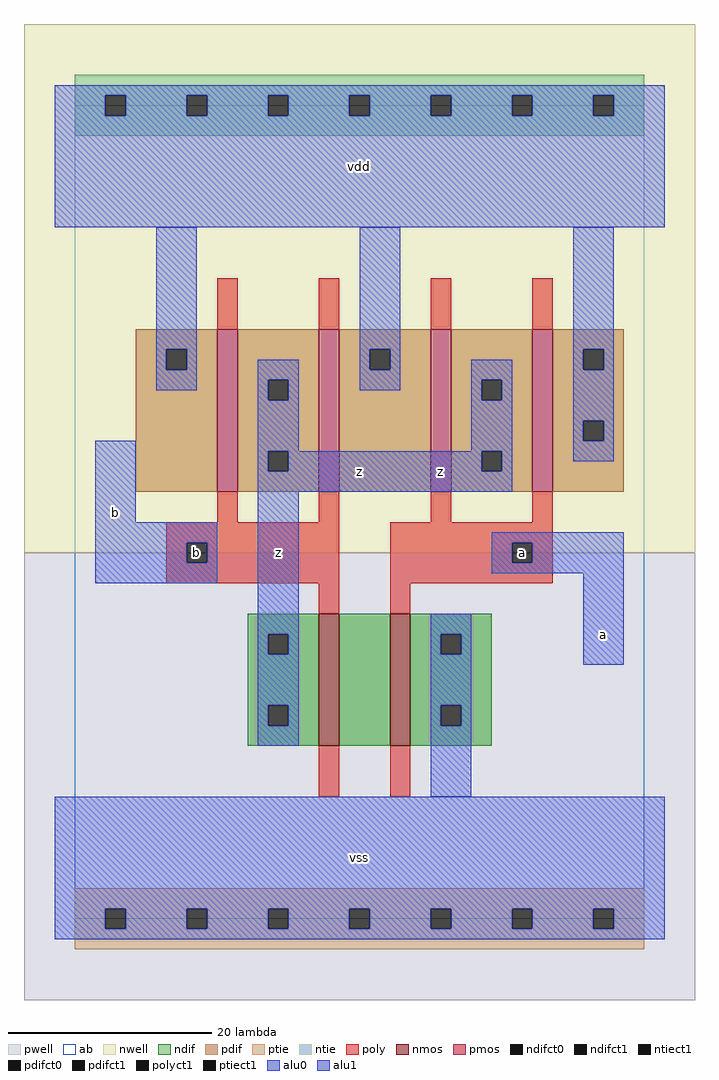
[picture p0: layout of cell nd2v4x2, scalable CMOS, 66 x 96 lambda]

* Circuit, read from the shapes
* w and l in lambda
.subckt nd2v4x2 a b vdd vss z
M1 n1 b z vss nfet w=13 l=2
M2 vss a n1 vss nfet w=13 l=2
M3 z b vdd vdd pfet w=16 l=2 m=2
M4 z a vdd vdd pfet w=16 l=2 m=2
.ends

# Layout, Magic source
magic
tech scmos
<< ab >>
rect 0 0 56 80
<< nwell >>
rect -5 36 61 88
<< pwell >>
rect -5 -8 61 36
<< poly >>
rect 14 58 16 63
rect 24 58 26 63
rect 35 58 37 63
rect 45 58 47 63
rect 14 39 16 42
rect 24 39 26 42
rect 35 39 37 42
rect 45 39 47 42
rect 9 37 26 39
rect 9 35 11 37
rect 13 35 26 37
rect 9 33 26 35
rect 24 30 26 33
rect 31 37 47 39
rect 31 35 43 37
rect 45 35 47 37
rect 31 33 47 35
rect 31 30 33 33
rect 24 12 26 17
rect 31 12 33 17
<< ndif >>
rect 17 28 24 30
rect 17 26 19 28
rect 21 26 24 28
rect 17 21 24 26
rect 17 19 19 21
rect 21 19 24 21
rect 17 17 24 19
rect 26 17 31 30
rect 33 28 41 30
rect 33 26 36 28
rect 38 26 41 28
rect 33 21 41 26
rect 33 19 36 21
rect 38 19 41 21
rect 33 17 41 19
<< pdif >>
rect 6 56 14 58
rect 6 54 9 56
rect 11 54 14 56
rect 6 42 14 54
rect 16 53 24 58
rect 16 51 19 53
rect 21 51 24 53
rect 16 46 24 51
rect 16 44 19 46
rect 21 44 24 46
rect 16 42 24 44
rect 26 56 35 58
rect 26 54 29 56
rect 31 54 35 56
rect 26 42 35 54
rect 37 53 45 58
rect 37 51 40 53
rect 42 51 45 53
rect 37 46 45 51
rect 37 44 40 46
rect 42 44 45 46
rect 37 42 45 44
rect 47 56 54 58
rect 47 54 50 56
rect 52 54 54 56
rect 47 49 54 54
rect 47 47 50 49
rect 52 47 54 49
rect 47 42 54 47
<< alu1 >>
rect -2 81 58 82
rect -2 79 3 81
rect 5 79 11 81
rect 13 79 19 81
rect 21 79 27 81
rect 29 79 35 81
rect 37 79 43 81
rect 45 79 51 81
rect 53 79 58 81
rect -2 68 58 79
rect 18 53 22 55
rect 18 51 19 53
rect 21 51 22 53
rect 39 53 43 55
rect 2 39 6 47
rect 18 46 22 51
rect 39 51 40 53
rect 42 51 43 53
rect 39 46 43 51
rect 18 44 19 46
rect 21 44 40 46
rect 42 44 43 46
rect 18 42 43 44
rect 2 37 14 39
rect 2 35 11 37
rect 13 35 14 37
rect 2 33 14 35
rect 18 28 22 42
rect 41 37 54 38
rect 41 35 43 37
rect 45 35 54 37
rect 41 34 54 35
rect 18 26 19 28
rect 21 26 22 28
rect 18 21 22 26
rect 18 19 19 21
rect 21 19 22 21
rect 18 17 22 19
rect 50 25 54 34
rect -2 1 58 12
rect -2 -1 3 1
rect 5 -1 11 1
rect 13 -1 19 1
rect 21 -1 27 1
rect 29 -1 35 1
rect 37 -1 43 1
rect 45 -1 51 1
rect 53 -1 58 1
rect -2 -2 58 -1
<< ptie >>
rect 0 1 56 3
rect 0 -1 3 1
rect 5 -1 11 1
rect 13 -1 19 1
rect 21 -1 27 1
rect 29 -1 35 1
rect 37 -1 43 1
rect 45 -1 51 1
rect 53 -1 56 1
rect 0 -3 56 -1
<< ntie >>
rect 0 81 56 83
rect 0 79 3 81
rect 5 79 11 81
rect 13 79 19 81
rect 21 79 27 81
rect 29 79 35 81
rect 37 79 43 81
rect 45 79 51 81
rect 53 79 56 81
rect 0 77 56 79
<< nmos >>
rect 24 17 26 30
rect 31 17 33 30
<< pmos >>
rect 14 42 16 58
rect 24 42 26 58
rect 35 42 37 58
rect 45 42 47 58
<< polyct1 >>
rect 11 35 13 37
rect 43 35 45 37
<< ndifct0 >>
rect 36 26 38 28
rect 36 19 38 21
<< ndifct1 >>
rect 19 26 21 28
rect 19 19 21 21
<< ntiect1 >>
rect 3 79 5 81
rect 11 79 13 81
rect 19 79 21 81
rect 27 79 29 81
rect 35 79 37 81
rect 43 79 45 81
rect 51 79 53 81
<< ptiect1 >>
rect 3 -1 5 1
rect 11 -1 13 1
rect 19 -1 21 1
rect 27 -1 29 1
rect 35 -1 37 1
rect 43 -1 45 1
rect 51 -1 53 1
<< pdifct0 >>
rect 9 54 11 56
rect 29 54 31 56
rect 50 54 52 56
rect 50 47 52 49
<< pdifct1 >>
rect 19 51 21 53
rect 19 44 21 46
rect 40 51 42 53
rect 40 44 42 46
<< alu0 >>
rect 8 56 12 68
rect 8 54 9 56
rect 11 54 12 56
rect 28 56 32 68
rect 8 52 12 54
rect 28 54 29 56
rect 31 54 32 56
rect 49 56 53 68
rect 28 52 32 54
rect 49 54 50 56
rect 52 54 53 56
rect 49 49 53 54
rect 49 47 50 49
rect 52 47 53 49
rect 49 45 53 47
rect 35 28 39 30
rect 35 26 36 28
rect 38 26 39 28
rect 35 21 39 26
rect 35 19 36 21
rect 38 19 39 21
rect 35 12 39 19
<< labels >>
rlabel alu1 4 40 4 40 6 b
rlabel polyct1 12 36 12 36 6 b
rlabel alu1 20 36 20 36 6 z
rlabel alu1 28 6 28 6 6 vss
rlabel alu1 36 44 36 44 6 z
rlabel alu1 28 44 28 44 6 z
rlabel alu1 28 74 28 74 6 vdd
rlabel polyct1 44 36 44 36 6 a
rlabel alu1 52 28 52 28 6 a
<< end >>
